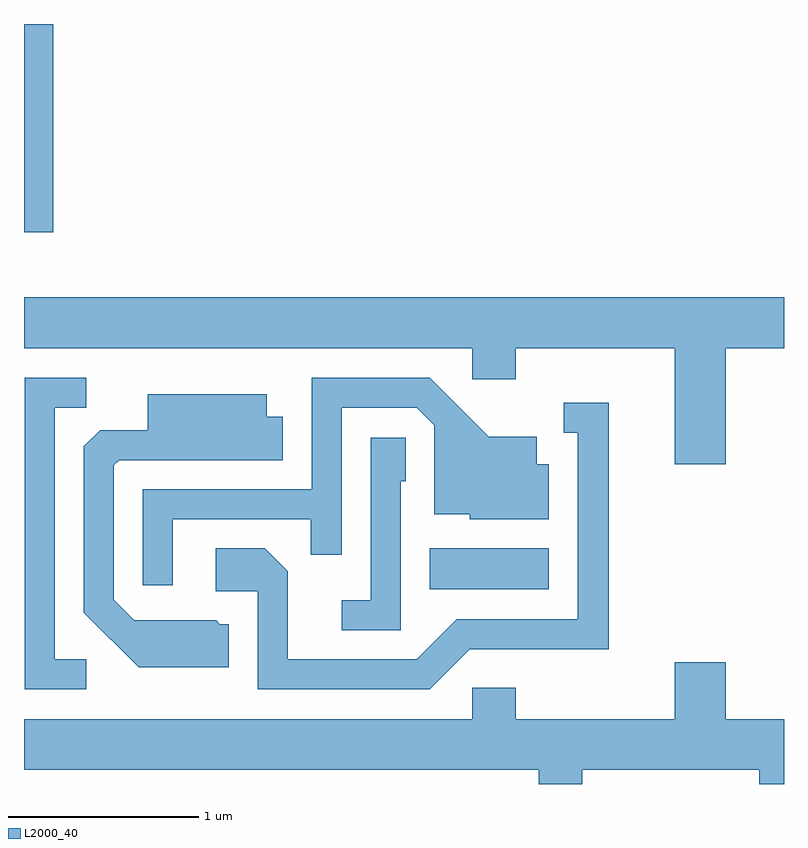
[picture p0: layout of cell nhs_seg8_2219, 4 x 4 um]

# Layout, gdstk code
import gdstk
lib = gdstk.Library(unit=1e-6, precision=1e-09)
def R(c, l, rs):  # rectangles x0, y0, x1, y1
    for r in rs: c.add(gdstk.rectangle(r[:2], r[2:], *l))
def P(c, l, *ps):  # polygons
    for p in ps: c.add(gdstk.Polygon(p, *l))
L2000_40 = (2000, 40)

nhs_seg8_2219 = lib.new_cell('nhs_seg8_2219')
R(nhs_seg8_2219, L2000_40, [(253.746,1837.366,254.374,1837.584), (251.611,1839.246,251.764,1840.342)])
P(nhs_seg8_2219, L2000_40, [(255.304,1838.636),(255.611,1838.636),(255.611,1838.904),(251.611,1838.904),(251.611,1838.636),(253.971,1838.636),(253.971,1838.471),(254.199,1838.471),(254.199,1838.636),(255.036,1838.636),(255.036,1838.026),(255.304,1838.026)],
  [(251.938,1836.999),(251.774,1836.999),(251.774,1838.321),(251.938,1838.321),(251.938,1838.479),(251.616,1838.479),(251.616,1836.841),(251.938,1836.841)],
  [(252.394,1837.736),(253.121,1837.736),(253.121,1837.548),(253.284,1837.548),(253.284,1838.321),(253.679,1838.321),(253.771,1838.229),(253.771,1837.761),(253.956,1837.761),(253.956,1837.736),(254.374,1837.736),(254.374,1838.024),(254.309,1838.024),(254.309,1838.169),(254.057,1838.169),(253.747,1838.479),(253.126,1838.479),(253.126,1837.894),(252.236,1837.894),(252.236,1837.388),(252.394,1837.388)],
  [(252.689,1837.184),(252.642,1837.184),(252.622,1837.204),(252.192,1837.204),(252.084,1837.312),(252.084,1838.019),(252.112,1838.046),(252.974,1838.046),(252.974,1838.274),(252.889,1838.274),(252.889,1838.394),(252.261,1838.394),(252.261,1838.204),(252.012,1838.204),(251.926,1838.119),(251.926,1837.244),(252.214,1836.956),(252.689,1836.956)],
  [(253.957,1837.051),(254.689,1837.051),(254.689,1838.349),(254.453,1838.349),(254.453,1838.191),(254.526,1838.191),(254.526,1837.209),(253.889,1837.209),(253.679,1836.999),(252.999,1836.999),(252.999,1837.462),(252.877,1837.584),(252.621,1837.584),(252.621,1837.356),(252.841,1837.356),(252.841,1836.841),(253.747,1836.841)],
  [(253.594,1837.936),(253.619,1837.936),(253.619,1838.164),(253.436,1838.164),(253.436,1837.309),(253.283,1837.309),(253.283,1837.151),(253.594,1837.151)],
  [(254.549,1836.416),(255.481,1836.416),(255.481,1836.342),(255.611,1836.342),(255.611,1836.684),(255.304,1836.684),(255.304,1836.984),(255.036,1836.984),(255.036,1836.684),(254.199,1836.684),(254.199,1836.849),(253.971,1836.849),(253.971,1836.684),(251.611,1836.684),(251.611,1836.416),(254.321,1836.416),(254.321,1836.342),(254.549,1836.342)])

lib.write_gds('nhs_seg8_2219.gds')
